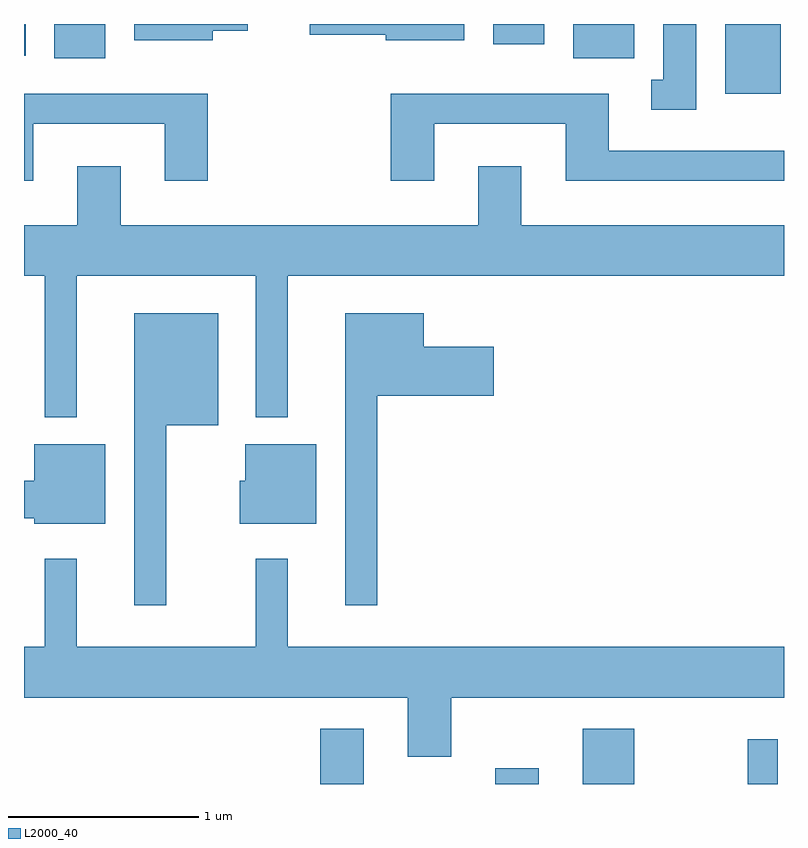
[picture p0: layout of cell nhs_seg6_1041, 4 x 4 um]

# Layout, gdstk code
import gdstk
lib = gdstk.Library(unit=1e-6, precision=1e-09)
def R(c, l, rs):  # rectangles x0, y0, x1, y1
    for r in rs: c.add(gdstk.rectangle(r[:2], r[2:], *l))
def P(c, l, *ps):  # polygons
    for p in ps: c.add(gdstk.Polygon(p, *l))
L2000_40 = (2000, 40)

nhs_seg6_1041 = lib.new_cell('nhs_seg6_1041')
R(nhs_seg6_1041, L2000_40, [(217.171,1636.162,217.399,1636.454), (218.091,1636.162,218.319,1636.244), (218.551,1636.162,218.824,1636.454), (219.421,1636.162,219.579,1636.398), (219.301,1639.796,219.594,1640.162), (215.771,1639.981,216.039,1640.162), (218.501,1639.981,218.824,1640.162), (215.611,1639.996,215.619,1640.162), (218.081,1640.056,218.349,1640.162)])
P(nhs_seg6_1041, L2000_40, [(219.149,1640.162),(218.976,1640.162),(218.976,1639.869),(218.913,1639.869),(218.913,1639.711),(219.149,1639.711)],
  [(216.604,1640.126),(216.789,1640.126),(216.789,1640.162),(216.191,1640.162),(216.191,1640.076),(216.604,1640.076)],
  [(217.929,1640.162),(217.116,1640.162),(217.116,1640.106),(217.516,1640.106),(217.516,1640.076),(217.929,1640.076)],
  [(215.659,1639.636),(216.351,1639.636),(216.351,1639.336),(216.579,1639.336),(216.579,1639.794),(215.611,1639.794),(215.611,1639.336),(215.659,1639.336)],
  [(217.769,1639.636),(218.461,1639.636),(218.461,1639.336),(219.611,1639.336),(219.611,1639.494),(218.689,1639.494),(218.689,1639.794),(217.541,1639.794),(217.541,1639.336),(217.769,1639.336)],
  [(215.889,1638.836),(216.831,1638.836),(216.831,1638.093),(216.999,1638.093),(216.999,1638.836),(219.611,1638.836),(219.611,1639.104),(218.229,1639.104),(218.229,1639.414),(218.001,1639.414),(218.001,1639.104),(216.119,1639.104),(216.119,1639.414),(215.891,1639.414),(215.891,1639.104),(215.611,1639.104),(215.611,1638.836),(215.721,1638.836),(215.721,1638.093),(215.889,1638.093)],
  [(217.469,1638.206),(218.084,1638.206),(218.084,1638.464),(217.714,1638.464),(217.714,1638.639),(217.301,1638.639),(217.301,1637.103),(217.469,1637.103)],
  [(216.359,1638.051),(216.634,1638.051),(216.634,1638.639),(216.191,1638.639),(216.191,1637.103),(216.359,1637.103)],
  [(217.149,1637.949),(216.776,1637.949),(216.776,1637.759),(216.746,1637.759),(216.746,1637.531),(217.149,1637.531)],
  [(216.039,1637.949),(215.666,1637.949),(215.666,1637.759),(215.611,1637.759),(215.611,1637.561),(215.666,1637.561),(215.666,1637.531),(216.039,1637.531)],
  [(217.859,1636.616),(219.611,1636.616),(219.611,1636.884),(216.999,1636.884),(216.999,1637.348),(216.831,1637.348),(216.831,1636.884),(215.889,1636.884),(215.889,1637.348),(215.721,1637.348),(215.721,1636.884),(215.611,1636.884),(215.611,1636.616),(217.631,1636.616),(217.631,1636.306),(217.859,1636.306)])

lib.write_gds('nhs_seg6_1041.gds')
